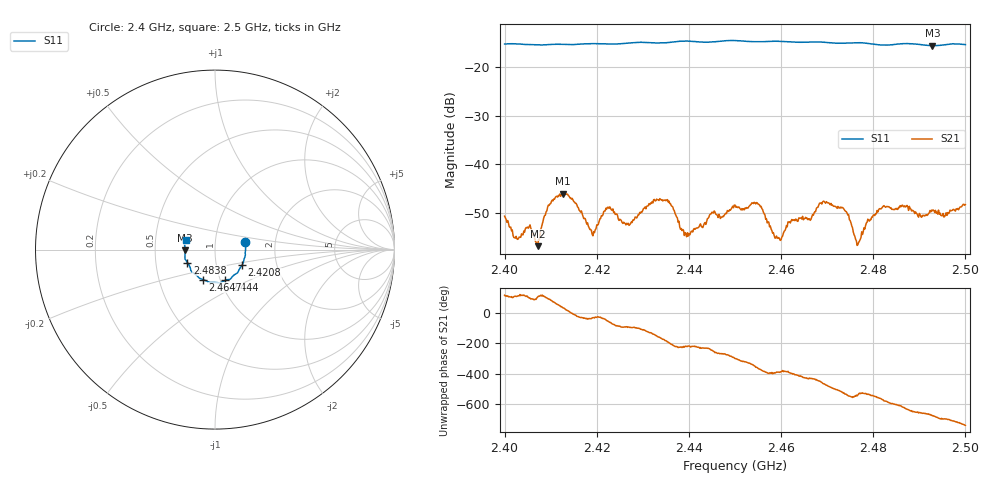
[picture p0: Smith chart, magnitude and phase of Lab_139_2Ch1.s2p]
# Hz S RI R 50
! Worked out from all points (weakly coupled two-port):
!   601 points, 2.4 GHz to 2.5 GHz, reference 50 ohm
!   highest |S21| = -46.11 dB at 2.4127 GHz (marker M1); lowest = -56.9 dB at 2.4072 GHz (marker M2)
!   lowest |S11| = -15.6 dB at 2.4928 GHz (marker M3), VSWR 1.40, Z = 35.8 - j0.351 ohm
!   |S11| at or under -10 dB: start of sweep to end of sweep
!   S12 and S22 are empty: the file has one direction only
!   S11 on the Smith chart (normalised r, x): 2.4 GHz: 1.40, +0.12; 2.4208 GHz: 1.33, -0.24; 2.444 GHz: 1.06, -0.37; 2.4647 GHz: 0.83, -0.29; 2.4838 GHz: 0.73, -0.11; 2.5 GHz: 0.72, +0.08
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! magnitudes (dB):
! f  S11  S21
! 2.4 GHz  -15.3  -50.7
! 2.4072 GHz  -15.4  -56.9
! 2.4098 GHz  -15.3  -48.2
! 2.4127 GHz  -15.3  -46.1
! 2.4167 GHz  -15.2  -49.7
! 2.419 GHz  -15.2  -54.5
! 2.4208 GHz  -15.2  -51.2
! 2.4268 GHz  -15.1  -52.2
! 2.4333 GHz  -15.0  -47.3
! 2.4395 GHz  -14.6  -55.0
! 2.444 GHz  -14.9  -51.3
! 2.45 GHz  -14.5  -48.4
! 2.4552 GHz  -14.8  -48.3
! 2.4597 GHz  -14.7  -55.4
! 2.4647 GHz  -14.9  -50.8
! 2.4667 GHz  -14.8  -50.9
! 2.4733 GHz  -15.1  -49.0
! 2.4767 GHz  -15.0  -56.6
! 2.4833 GHz  -15.5  -48.7
! 2.4838 GHz  -15.4  -49.0
! 2.4928 GHz  -15.6  -49.6
! 2.5 GHz  -15.4  -48.3
